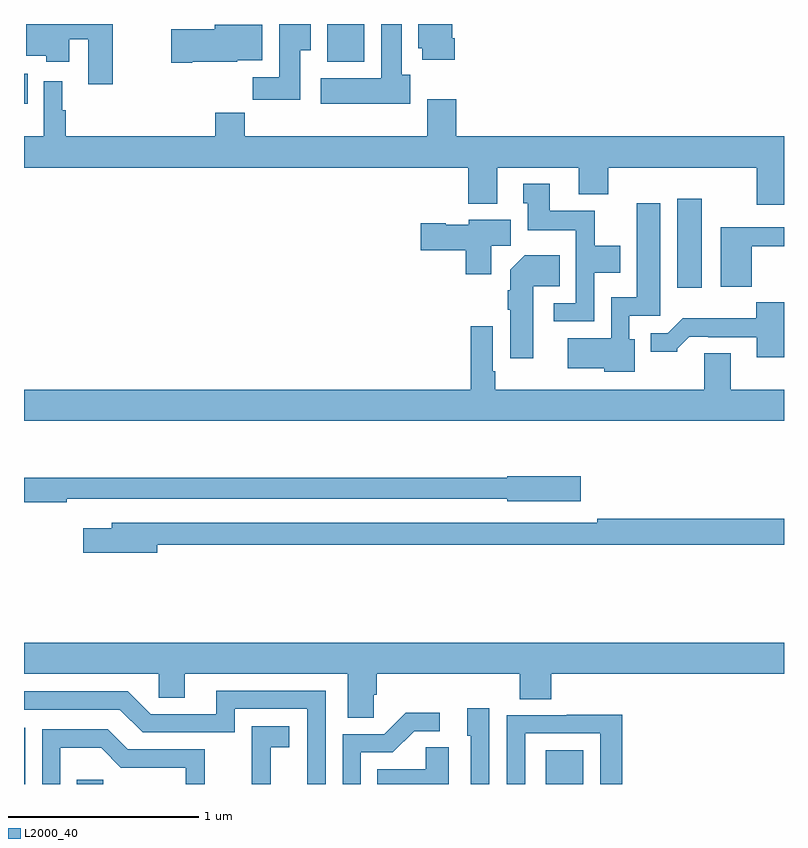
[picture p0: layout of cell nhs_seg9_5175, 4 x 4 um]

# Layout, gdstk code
import gdstk
lib = gdstk.Library(unit=1e-6, precision=1e-09)
def R(c, l, rs):  # rectangles x0, y0, x1, y1
    for r in rs: c.add(gdstk.rectangle(r[:2], r[2:], *l))
def P(c, l, *ps):  # polygons
    for p in ps: c.add(gdstk.Polygon(p, *l))
L2000_40 = (2000, 40)

nhs_seg9_5175 = lib.new_cell('nhs_seg9_5175')
R(nhs_seg9_5175, L2000_40, [(411,1202.5,411.006,1202.797), (411.277,1202.5,411.417,1202.523), (413.747,1202.5,413.944,1202.677), (414.437,1205.112,414.568,1205.581), (411,1206.08,411.02,1206.238), (412.595,1206.302,412.792,1206.5)])
P(nhs_seg9_5175, L2000_40, [(412.453,1206.361),(412.51,1206.361),(412.51,1206.5),(412.343,1206.5),(412.343,1206.22),(412.204,1206.22),(412.204,1206.102),(412.453,1206.102)],
  [(413.032,1206.234),(412.987,1206.234),(412.987,1206.5),(412.88,1206.5),(412.88,1206.214),(412.563,1206.214),(412.563,1206.08),(413.032,1206.08)],
  [(411.468,1206.5),(411.011,1206.5),(411.011,1206.332),(411.116,1206.332),(411.116,1206.302),(411.238,1206.302),(411.238,1206.419),(411.338,1206.419),(411.338,1206.183),(411.468,1206.183)],
  [(413.267,1206.424),(413.254,1206.424),(413.254,1206.5),(413.075,1206.5),(413.075,1206.372),(413.096,1206.372),(413.096,1206.312),(413.267,1206.312)],
  [(411.886,1206.302),(412.122,1206.302),(412.122,1206.308),(412.255,1206.308),(412.255,1206.496),(412.004,1206.496),(412.004,1206.473),(411.774,1206.473),(411.774,1206.295),(411.886,1206.295)],
  [(415,1205.908),(413.276,1205.908),(413.276,1206.103),(413.123,1206.103),(413.123,1205.908),(412.163,1205.908),(412.163,1206.032),(412.007,1206.032),(412.007,1205.908),(411.221,1205.908),(411.221,1206.045),(411.202,1206.045),(411.202,1206.199),(411.105,1206.199),(411.105,1205.908),(411,1205.908),(411,1205.744),(413.339,1205.744),(413.339,1205.555),(413.491,1205.555),(413.491,1205.744),(413.921,1205.744),(413.921,1205.603),(414.074,1205.603),(414.074,1205.744),(414.857,1205.744),(414.857,1205.55),(415,1205.55)],
  [(414,1205.192),(414.139,1205.192),(414.139,1205.332),(414.003,1205.332),(414.003,1205.518),(413.767,1205.518),(413.767,1205.659),(413.627,1205.659),(413.627,1205.556),(413.651,1205.556),(413.651,1205.414),(413.904,1205.414),(413.904,1205.031),(413.787,1205.031),(413.787,1204.935),(414,1204.935)],
  [(414.214,1204.842),(414.186,1204.842),(414.186,1204.965),(414.349,1204.965),(414.349,1205.557),(414.224,1205.557),(414.224,1205.062),(414.09,1205.062),(414.09,1204.846),(413.862,1204.846),(413.862,1204.688),(414.054,1204.688),(414.054,1204.67),(414.214,1204.67)],
  [(413.458,1205.332),(413.563,1205.332),(413.563,1205.47),(413.34,1205.47),(413.34,1205.443),(413.22,1205.443),(413.22,1205.451),(413.088,1205.451),(413.088,1205.309),(413.324,1205.309),(413.324,1205.184),(413.458,1205.184)],
  [(414.83,1205.329),(415,1205.329),(415,1205.43),(414.668,1205.43),(414.668,1205.117),(414.83,1205.117)],
  [(413.68,1205.12),(413.819,1205.12),(413.819,1205.284),(413.636,1205.284),(413.558,1205.206),(413.558,1205.099),(413.546,1205.099),(413.546,1204.996),(413.558,1204.996),(413.558,1204.74),(413.68,1204.74)],
  [(415,1205.035),(414.855,1205.035),(414.855,1204.951),(414.466,1204.951),(414.387,1204.872),(414.299,1204.872),(414.299,1204.775),(414.438,1204.775),(414.438,1204.79),(414.502,1204.854),(414.601,1204.854),(414.601,1204.851),(414.857,1204.851),(414.857,1204.746),(415,1204.746)],
  [(415,1204.576),(414.721,1204.576),(414.721,1204.766),(414.581,1204.766),(414.581,1204.576),(413.479,1204.576),(413.479,1204.672),(413.466,1204.672),(413.466,1204.909),(413.35,1204.909),(413.35,1204.576),(411,1204.576),(411,1204.412),(415,1204.412)],
  [(411.224,1204.002),(413.544,1204.002),(413.544,1203.989),(413.929,1203.989),(413.929,1204.119),(413.544,1204.119),(413.544,1204.111),(411,1204.111),(411,1203.982),(411.224,1203.982)],
  [(411.7,1203.76),(415,1203.76),(415,1203.896),(414.016,1203.896),(414.016,1203.876),(411.461,1203.876),(411.461,1203.847),(411.312,1203.847),(411.312,1203.718),(411.7,1203.718)],
  [(412.842,1202.971),(412.856,1202.971),(412.856,1203.08),(413.609,1203.08),(413.609,1202.947),(413.774,1202.947),(413.774,1203.08),(415,1203.08),(415,1203.244),(411,1203.244),(411,1203.08),(411.708,1203.08),(411.708,1202.953),(411.847,1202.953),(411.847,1203.08),(412.703,1203.08),(412.703,1202.848),(412.842,1202.848)],
  [(412.587,1202.991),(412.013,1202.991),(412.013,1202.868),(411.666,1202.868),(411.546,1202.988),(411,1202.988),(411,1202.892),(411.504,1202.892),(411.624,1202.772),(412.11,1202.772),(412.11,1202.895),(412.491,1202.895),(412.491,1202.5),(412.587,1202.5)],
  [(413.448,1202.899),(413.333,1202.899),(413.333,1202.754),(413.352,1202.754),(413.352,1202.5),(413.448,1202.5)],
  [(412.773,1202.667),(412.942,1202.667),(413.053,1202.778),(413.188,1202.778),(413.188,1202.876),(413.009,1202.876),(412.896,1202.763),(412.677,1202.763),(412.677,1202.5),(412.773,1202.5)],
  [(413.637,1202.766),(414.033,1202.766),(414.033,1202.5),(414.149,1202.5),(414.149,1202.864),(413.857,1202.864),(413.857,1202.862),(413.541,1202.862),(413.541,1202.5),(413.637,1202.5)],
  [(412.298,1202.693),(412.396,1202.693),(412.396,1202.803),(412.198,1202.803),(412.198,1202.597),(412.199,1202.597),(412.199,1202.5),(412.298,1202.5)],
  [(411.192,1202.69),(411.406,1202.69),(411.51,1202.586),(411.852,1202.586),(411.852,1202.5),(411.951,1202.5),(411.951,1202.682),(411.547,1202.682),(411.442,1202.787),(411.096,1202.787),(411.096,1202.5),(411.192,1202.5)],
  [(413.236,1202.693),(413.115,1202.693),(413.115,1202.578),(412.858,1202.578),(412.858,1202.5),(413.236,1202.5)])

lib.write_gds('nhs_seg9_5175.gds')
